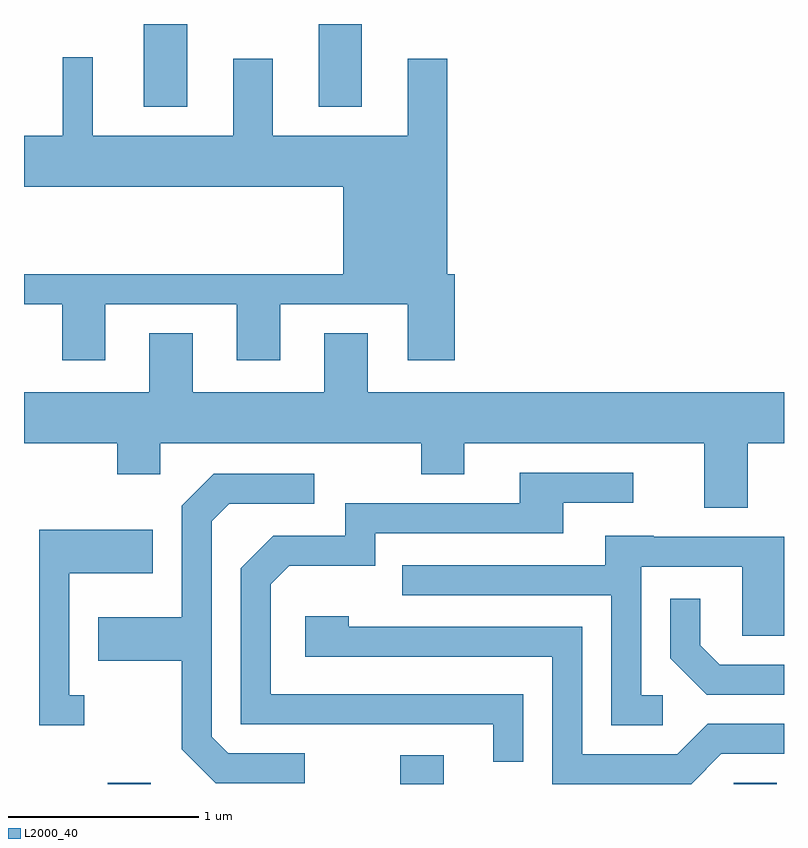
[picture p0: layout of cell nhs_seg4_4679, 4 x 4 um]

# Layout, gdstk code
import gdstk
lib = gdstk.Library(unit=1e-6, precision=1e-09)
def R(c, l, rs):  # rectangles x0, y0, x1, y1
    for r in rs: c.add(gdstk.rectangle(r[:2], r[2:], *l))
def P(c, l, *ps):  # polygons
    for p in ps: c.add(gdstk.Polygon(p, *l))
L2000_40 = (2000, 40)

nhs_seg4_4679 = lib.new_cell('nhs_seg4_4679')
R(nhs_seg4_4679, L2000_40, [(322.051,1363.982,322.279,1363.989), (323.591,1363.982,323.819,1364.134), (325.346,1363.982,325.574,1363.989), (322.241,1367.546,322.469,1367.982), (323.161,1367.546,323.389,1367.982)])
P(nhs_seg4_4679, L2000_40, [(322.039,1366.506),(322.731,1366.506),(322.731,1366.211),(322.959,1366.211),(322.959,1366.506),(323.631,1366.506),(323.631,1366.211),(323.879,1366.211),(323.879,1366.664),(323.839,1366.664),(323.839,1367.799),(323.631,1367.799),(323.631,1367.394),(322.919,1367.394),(322.919,1367.799),(322.711,1367.799),(322.711,1367.394),(321.974,1367.394),(321.974,1367.808),(321.816,1367.808),(321.816,1367.394),(321.611,1367.394),(321.611,1367.126),(323.291,1367.126),(323.291,1366.664),(321.611,1366.664),(321.611,1366.506),(321.811,1366.506),(321.811,1366.211),(322.039,1366.211)],
  [(325.419,1365.776),(325.611,1365.776),(325.611,1366.044),(323.419,1366.044),(323.419,1366.354),(323.191,1366.354),(323.191,1366.044),(322.499,1366.044),(322.499,1366.354),(322.271,1366.354),(322.271,1366.044),(321.611,1366.044),(321.611,1365.776),(322.101,1365.776),(322.101,1365.611),(322.329,1365.611),(322.329,1365.776),(323.701,1365.776),(323.701,1365.611),(323.929,1365.611),(323.929,1365.776),(325.191,1365.776),(325.191,1365.436),(325.419,1365.436)],
  [(324.239,1364.454),(322.909,1364.454),(322.909,1365.034),(323.007,1365.131),(323.459,1365.131),(323.459,1365.301),(324.449,1365.301),(324.449,1365.461),(324.818,1365.461),(324.818,1365.619),(324.221,1365.619),(324.221,1365.459),(323.301,1365.459),(323.301,1365.289),(322.924,1365.289),(322.751,1365.117),(322.751,1364.296),(324.081,1364.296),(324.081,1364.098),(324.239,1364.098)],
  [(323.088,1364.144),(322.687,1364.144),(322.599,1364.232),(322.599,1365.364),(322.692,1365.456),(323.138,1365.456),(323.138,1365.614),(322.609,1365.614),(322.441,1365.447),(322.441,1364.859),(322.001,1364.859),(322.001,1364.631),(322.441,1364.631),(322.441,1364.164),(322.619,1363.986),(323.088,1363.986)],
  [(321.928,1364.449),(321.849,1364.449),(321.849,1365.091),(322.289,1365.091),(322.289,1365.319),(321.691,1365.319),(321.691,1364.291),(321.928,1364.291)],
  [(324.973,1364.449),(324.859,1364.449),(324.859,1365.126),(325.391,1365.126),(325.391,1364.761),(325.611,1364.761),(325.611,1365.284),(324.925,1365.284),(324.925,1365.289),(324.671,1365.289),(324.671,1365.134),(323.603,1365.134),(323.603,1364.976),(324.701,1364.976),(324.701,1364.291),(324.973,1364.291)],
  [(325.611,1364.609),(325.272,1364.609),(325.169,1364.712),(325.169,1364.958),(325.011,1364.958),(325.011,1364.644),(325.204,1364.451),(325.611,1364.451)],
  [(325.282,1364.141),(325.611,1364.141),(325.611,1364.299),(325.209,1364.299),(325.049,1364.139),(324.549,1364.139),(324.549,1364.809),(323.319,1364.809),(323.319,1364.864),(323.091,1364.864),(323.091,1364.651),(324.391,1364.651),(324.391,1363.982),(325.123,1363.982)])

lib.write_gds('nhs_seg4_4679.gds')
